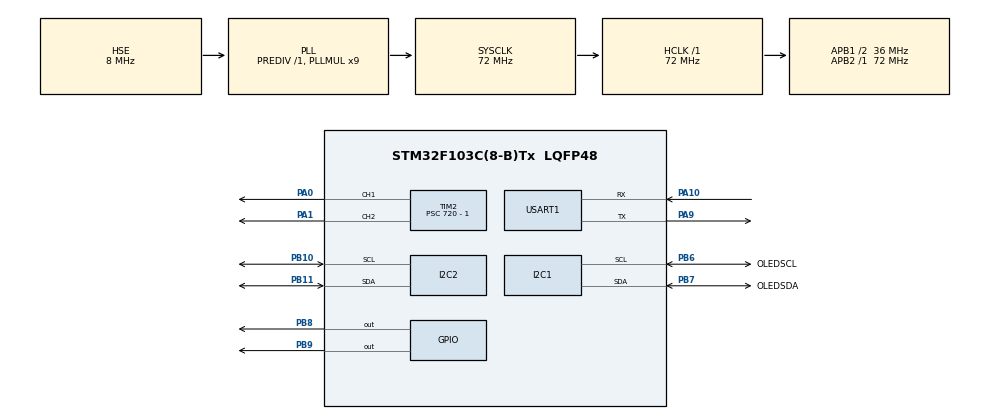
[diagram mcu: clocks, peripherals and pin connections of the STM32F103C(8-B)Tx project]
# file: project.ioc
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Mcu.Family=STM32F1
Mcu.Name=STM32F103C(8-B)Tx
Mcu.Package=LQFP48
NVIC.PriorityGroup=NVIC_PRIORITYGROUP_4
PA0-WKUP.Signal=S_TIM2_CH1_ETR
PA1.Signal=S_TIM2_CH2
PA10.GPIO_Mode=GPIO_MODE_INPUT
PA10.GPIO_PuPd=GPIO_NOPULL
PA10.Mode=Asynchronous
PA10.Signal=USART1_RX
PA13.Mode=Serial_Wire
PA13.Signal=SYS_JTMS-SWDIO
PA14.Mode=Serial_Wire
PA14.Signal=SYS_JTCK-SWCLK
PA9.GPIO_Mode=GPIO_MODE_AF_PP
PA9.Mode=Asynchronous
PA9.Signal=USART1_TX
PB10.Mode=I2C
PB10.Signal=I2C2_SCL
PB11.Mode=I2C
PB11.Signal=I2C2_SDA
PB6.GPIO_Label=OLEDSCL
PB6.Mode=I2C
PB6.Signal=I2C1_SCL
PB7.GPIO_Label=OLEDSDA
PB7.Mode=I2C
PB7.Signal=I2C1_SDA
PB8.GPIO_ModeDefaultOutputPP=GPIO_MODE_OUTPUT_OD
PB8.GPIO_PuPd=GPIO_NOPULL
PB8.Signal=GPIO_Output
PB9.GPIO_ModeDefaultOutputPP=GPIO_MODE_OUTPUT_OD
PB9.GPIO_PuPd=GPIO_NOPULL
PB9.Signal=GPIO_Output
PD0-OSC_IN.Mode=HSE-External-Oscillator
PD0-OSC_IN.Signal=RCC_OSC_IN
PD1-OSC_OUT.Mode=HSE-External-Oscillator
PD1-OSC_OUT.Signal=RCC_OSC_OUT
ProjectManager.HeapSize=0x200
ProjectManager.StackSize=0x400
ProjectManager.TargetToolchain=MDK-ARM V5.32
RCC.AHBFreq_Value=72000000
RCC.APB1CLKDivider=RCC_HCLK_DIV2
RCC.APB1Freq_Value=36000000
RCC.APB1TimFreq_Value=72000000
RCC.APB2Freq_Value=72000000
RCC.APB2TimFreq_Value=72000000
RCC.HCLKFreq_Value=72000000
RCC.PLLMUL=RCC_PLL_MUL9
RCC.PLLSourceVirtual=RCC_PLLSOURCE_HSE
RCC.SYSCLKFreq_VALUE=72000000
RCC.SYSCLKSource=RCC_SYSCLKSOURCE_PLLCLK
RCC.USBFreq_Value=72000000
SH.S_TIM2_CH1_ETR.0=TIM2_CH1,PWM Generation1 CH1
SH.S_TIM2_CH2.0=TIM2_CH2,PWM Generation2 CH2
TIM2.Channel-PWM\ Generation1\ CH1=TIM_CHANNEL_1
TIM2.Channel-PWM\ Generation2\ CH2=TIM_CHANNEL_2
TIM2.Period=2000 -1
TIM2.Prescaler=720 - 1
USART1.VirtualMode=VM_ASYNC
VP_TIM2_VS_ClockSourceINT.Mode=Internal
board=custom

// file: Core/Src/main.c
/* USER CODE BEGIN Header */
/**
  ******************************************************************************
  * @file           : main.c
  * @brief          : Main program body
  ******************************************************************************
  * @attention
  *
  * Copyright (c) 2024 STMicroelectronics.
  * All rights reserved.
  *
  * This software is licensed under terms that can be found in the LICENSE file
  * in the root directory of this software component.
  * If no LICENSE file comes with this software, it is provided AS-IS.
  *
  ******************************************************************************
  */
/* USER CODE END Header */
#include "main.h"
#include "i2c.h"
#include "tim.h"
#include "usart.h"
#include "gpio.h"
#include "mpu6050.h"
#include "OLED.h"

void SystemClock_Config(void);

int main(void)
{

  /* MCU Configuration--------------------------------------------------------*/

  /* Reset of all peripherals, Initializes the Flash interface and the Systick. */
  HAL_Init();

  /* Configure the system clock */
  SystemClock_Config();

  /* Initialize all configured peripherals */
  MX_GPIO_Init();
  MX_I2C1_Init();
  MX_TIM2_Init();
  MX_USART1_UART_Init();
  MX_I2C2_Init();
  /* USER CODE BEGIN 2 */
//float pitch=1, roll=2, yaw=3;
MPU6050_Init();
 MX_GPIO_Init();
  MX_I2C1_Init();
  /* USER CODE BEGIN 2 */
	OLED_Init();
	OLED_ShowString(1,1,"cNNN");
	OLED_ShowString(3,1,"c");
		 HAL_Delay(1000);
    OLED_Clear();
//void Control_Servo(pitch,roll){}
  /* USER CODE END 2 */

  /* Infinite loop */
  /* USER CODE BEGIN WHILE */
  while (1)
  {
	  MPU6050_Read_Result();

        OLED_ShowString(1, 1, "Pitch:");
        OLED_ShowNum(1, 7,pitch -40 , 3);
//	 HAL_Delay(100);
        OLED_ShowString(2, 1, "Roll:");
        OLED_ShowNum(2, 7, roll, 3);
//	  HAL_Delay(100);
        OLED_ShowString(3, 1, "Yaw:");
        OLED_ShowNum(3, 7,yaw, 3);
//	   HAL_Delay(100);
//	  	uint16_t yaw_pwm = (uint16_t)((yaw + 90) * 3);  // ??PWM???0-2000,??-90?+90?
//        uint16_t pitch_pwm = (uint16_t)((pitch + 90 -40) * 0.6);  // ?????PWM
	  uint16_t yaw_pwm = (uint16_t)(yaw * (3000.0 / 180.0));  // ? yaw ????? 0-2000 ??? PWM ??
uint16_t pitch_pwm = (uint16_t)(pitch * (500.0 / 180.0));  // ? pitch ????? 0-2000 ??? PWM ??
	//  HAL_TIM_PWM_Start(&htim2, TIM_CHANNEL_1);  // ????
      //HAL_TIM_PWM_SetCompare(&htim2, TIM_CHANNEL_1, yaw_pwm);

       HAL_TIM_PWM_Start(&htim2,TIM_CHANNEL_1); //for led control
       HAL_TIM_PWM_Start(&htim2,TIM_CHANNEL_2); //for servo control

     __HAL_TIM_SetCompare(&htim2,TIM_CHANNEL_2,yaw_pwm);
     __HAL_TIM_SetCompare(&htim2,TIM_CHANNEL_1,pitch_pwm);

//HAL_TIM_PWM_Start(&htim2, TIM_CHANNEL_2);  // ????
//HAL_TIM_PWM_SetCompare(&htim2, TIM_CHANNEL_2, roll_pwm);
    /* USER CODE END WHILE */

  }
}

void SystemClock_Config(void)
{
  RCC_OscInitTypeDef RCC_OscInitStruct = {0};
  RCC_ClkInitTypeDef RCC_ClkInitStruct = {0};

  /** Initializes the RCC Oscillators according to the specified parameters
  * in the RCC_OscInitTypeDef structure.
  */
  RCC_OscInitStruct.OscillatorType = RCC_OSCILLATORTYPE_HSE;
  RCC_OscInitStruct.HSEState = RCC_HSE_ON;
  RCC_OscInitStruct.HSEPredivValue = RCC_HSE_PREDIV_DIV1;
  RCC_OscInitStruct.HSIState = RCC_HSI_ON;
  RCC_OscInitStruct.PLL.PLLState = RCC_PLL_ON;
  RCC_OscInitStruct.PLL.PLLSource = RCC_PLLSOURCE_HSE;
  RCC_OscInitStruct.PLL.PLLMUL = RCC_PLL_MUL9;
  if (HAL_RCC_OscConfig(&RCC_OscInitStruct) != HAL_OK)
  {
    Error_Handler();
  }

  /** Initializes the CPU, AHB and APB buses clocks
  */
  RCC_ClkInitStruct.ClockType = RCC_CLOCKTYPE_HCLK|RCC_CLOCKTYPE_SYSCLK
                              |RCC_CLOCKTYPE_PCLK1|RCC_CLOCKTYPE_PCLK2;
  RCC_ClkInitStruct.SYSCLKSource = RCC_SYSCLKSOURCE_PLLCLK;
  RCC_ClkInitStruct.AHBCLKDivider = RCC_SYSCLK_DIV1;
  RCC_ClkInitStruct.APB1CLKDivider = RCC_HCLK_DIV2;
  RCC_ClkInitStruct.APB2CLKDivider = RCC_HCLK_DIV1;

  if (HAL_RCC_ClockConfig(&RCC_ClkInitStruct, FLASH_LATENCY_2) != HAL_OK)
  {
    Error_Handler();
  }
}

void Error_Handler(void)
{
  __disable_irq();
  while (1)
  {
  }
}
